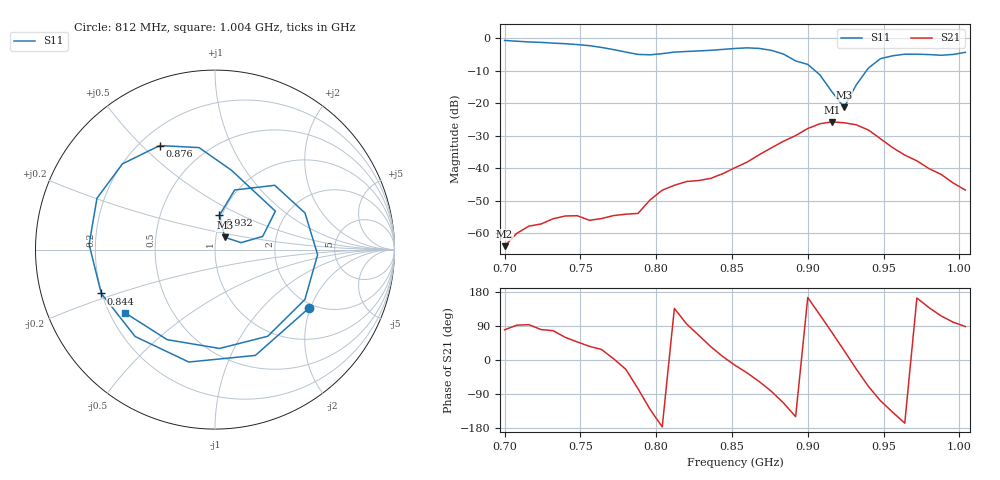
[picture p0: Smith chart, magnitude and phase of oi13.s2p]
# Hz S RI R 50
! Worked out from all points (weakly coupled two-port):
!   39 points, 700 MHz to 1.004 GHz, reference 50 ohm
!   highest |S21| = -25.70 dB at 916 MHz (marker M1); lowest = -64.0 dB at 700 MHz (marker M2)
!   lowest |S11| = -21.2 dB at 924 MHz (marker M3), VSWR 1.19, Z = 55.2 + j7.62 ohm
!   |S11| at or under -10 dB: 905 MHz to 938.6 MHz (33.62 MHz wide, 3.65 % of centre)
!   S12 and S22 are empty: the file has one direction only
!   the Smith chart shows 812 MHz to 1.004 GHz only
!   S11 on the Smith chart (normalised r, x): 812 MHz: 1.86, -1.96; 844 MHz: 0.20, -0.18; 876 MHz: 0.28, +0.57; 932 MHz: 0.97, +0.39; 1.004 GHz: 0.26, -0.30
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7e8  0.7657 0.5321  0.000112 0.000621  0 0  0 0
7.24e8  0.8316 -0.2593  0.000232 0.00137  0 0  0 0
7.4e8  0.4443 -0.7022  0.000928 0.00159  0 0  0 0
7.56e8  -0.1978 -0.7488  0.00128 0.00093  0 0  0 0
7.72e8  -0.6488 -0.1793  0.00187 9.49e-05  0 0  0 0
7.8e8  -0.5681 0.24  0.00178 -0.000819  0 0  0 0
7.88e8  -0.2067 0.5295  0.000494 -0.00195  0 0  0 0
7.96e8  0.2778 0.4864  -0.00212 -0.00248  0 0  0 0
8.04e8  0.5726 0.1188  -0.00459 -0.00029  0 0  0 0
8.12e8  0.524 -0.3253  -0.00395 0.00379  0 0  0 0
8.28e8  -0.1462 -0.6263  0.00269 0.0059  0 0  0 0
8.44e8  -0.6337 -0.2441  0.00817 0.00128  0 0  0 0
8.52e8  -0.7014 0.0289  0.0099 -0.00246  0 0  0 0
8.76e8  -0.308 0.5797  0.00264 -0.0205  0 0  0 0
9e8  0.3364 0.214  -0.0396 0.0107  0 0  0 0
9.08e8  0.2657 0.0732  -0.0236 0.0424  0 0  0 0
9.16e8  0.1451 0.0388  0.0157 0.0495  0 0  0 0
9.24e8  0.0542 0.0685  0.0457 0.0211  0 0  0 0
9.32e8  0.0246 0.1913  0.0428 -0.0188  0 0  0 0
9.56e8  0.5014 0.2039  -0.0154 -0.014  0 0  0 0
9.8e8  0.2936 -0.4828  -0.00737 0.0066  0 0  0 0
1.004e9  -0.4998 -0.3534  0.000133 0.00461  0 0  0 0
